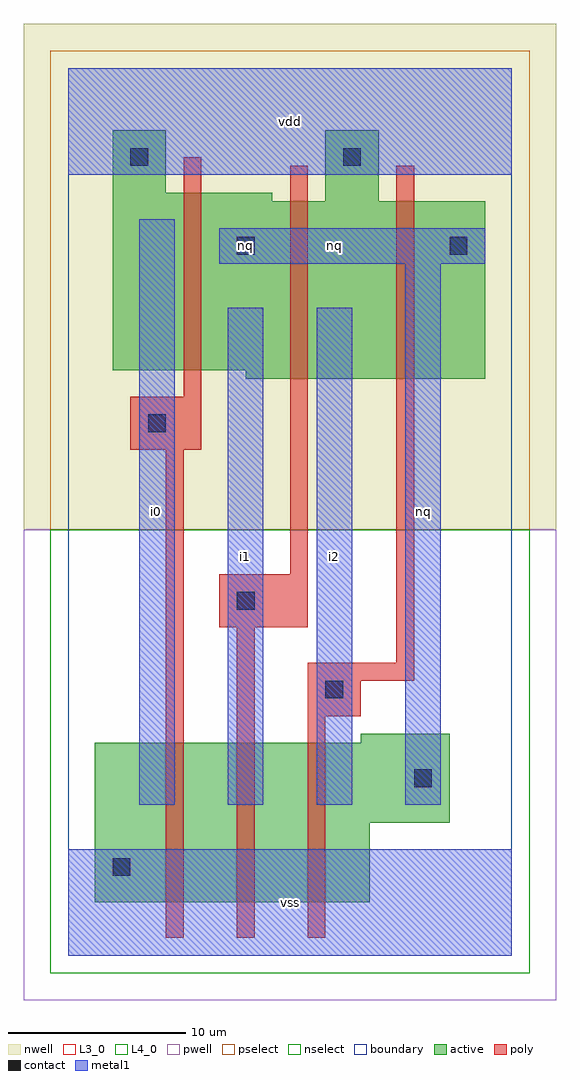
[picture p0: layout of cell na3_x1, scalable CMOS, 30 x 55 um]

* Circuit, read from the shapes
.subckt na3_x1 i0 i1 i2 nq vdd vss
M1 n1 i0 vss VSUBS nfet w=9u l=1u
M2 n2 i1 n1 VSUBS nfet w=9u l=1u
M3 nq i2 n2 VSUBS nfet w=9u l=1u
M4 nq i0 vdd n3 pfet w=10u l=1u
M5 vdd i1 nq n3 pfet w=10u l=1u
M6 nq i2 vdd n3 pfet w=10u l=1u
.ends

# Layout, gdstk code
import gdstk
lib = gdstk.Library(unit=1e-6, precision=1e-09)
def R(c, l, rs):  # rectangles x0, y0, x1, y1
    for r in rs: c.add(gdstk.rectangle(r[:2], r[2:], *l))
L3_0 = (3, 0)
L4_0 = (4, 0)
contact = (25, 0)
pwell = (41, 0)
nwell = (42, 0)
active = (43, 0)
pselect = (44, 0)
nselect = (45, 0)
poly = (46, 0)
metal1 = (49, 0)
boundary = (63, 0)

na3_x1 = lib.new_cell('na3_x1')
R(na3_x1, L3_0, [(1.5,3,17,7.5), (1.5,7.5,21.5,12), (16.5,12,21.5,12.5)])
R(na3_x1, L4_0, [(10,32.5,23.5,33), (2.5,33,23.5,42.5), (2.5,42.5,11.5,43), (14.5,42.5,17.5,46.5), (2.5,43,5.5,46.5)])
R(na3_x1, contact, [(2.5,4.5,3.5,5.5), (19.5,9.5,20.5,10.5), (14.5,14.5,15.5,15.5), (9.5,19.5,10.5,20.5), (4.5,29.5,5.5,30.5), (9.5,39.5,10.5,40.5), (21.5,39.5,22.5,40.5), (3.5,44.5,4.5,45.5), (15.5,44.5,16.5,45.5)])
R(na3_x1, pwell, [(-2.5,-2.5,27.5,24)])
R(na3_x1, nwell, [(-2.5,24,27.5,52.5)])
R(na3_x1, active, [(1.5,3,17,7.5), (1.5,7.5,21.5,12), (16.5,12,21.5,12.5), (10,32.5,23.5,33), (2.5,33,23.5,42.5), (2.5,42.5,11.5,43), (14.5,42.5,17.5,46.5), (2.5,43,5.5,46.5)])
R(na3_x1, pselect, [(-1,24,26,51)])
R(na3_x1, nselect, [(-1,-1,26,24)])
R(na3_x1, poly, [(5.5,1,6.5,28.5), (9.5,1,10.5,18.5), (13.5,1,14.5,13.5), (13.5,13.5,16.5,15.5), (13.5,15.5,19.5,16.5), (18.5,16.5,19.5,44.5), (8.5,18.5,13.5,21.5), (12.5,21.5,13.5,44.5), (3.5,28.5,7.5,31.5), (6.5,31.5,7.5,45)])
R(na3_x1, metal1, [(0,0,25,6), (0,0,25,6), (4,8.5,6,41.5), (4,8.5,6,41.5), (9,8.5,11,36.5), (9,8.5,11,36.5), (14,8.5,16,36.5), (14,8.5,16,36.5), (19,8.5,21,39), (19,8.5,21,39), (8.5,39,23.5,41), (8.5,39,23.5,41), (0,44,25,50), (0,44,25,50)])
R(na3_x1, boundary, [(0,0,25,50)])
na3_x1.add(gdstk.Label('i1', (10,22.5), layer=49, texttype=0))
na3_x1.add(gdstk.Label('i0', (5,25), layer=49, texttype=0))
na3_x1.add(gdstk.Label('nq', (10,40), layer=49, texttype=0))
na3_x1.add(gdstk.Label('vss', (12.5,3), layer=49, texttype=0))
na3_x1.add(gdstk.Label('i2', (15,22.5), layer=49, texttype=0))
na3_x1.add(gdstk.Label('vdd', (12.5,47), layer=49, texttype=0))
na3_x1.add(gdstk.Label('nq', (15,40), layer=49, texttype=0))
na3_x1.add(gdstk.Label('nq', (20,25), layer=49, texttype=0))

lib.write_gds('na3_x1.gds')
